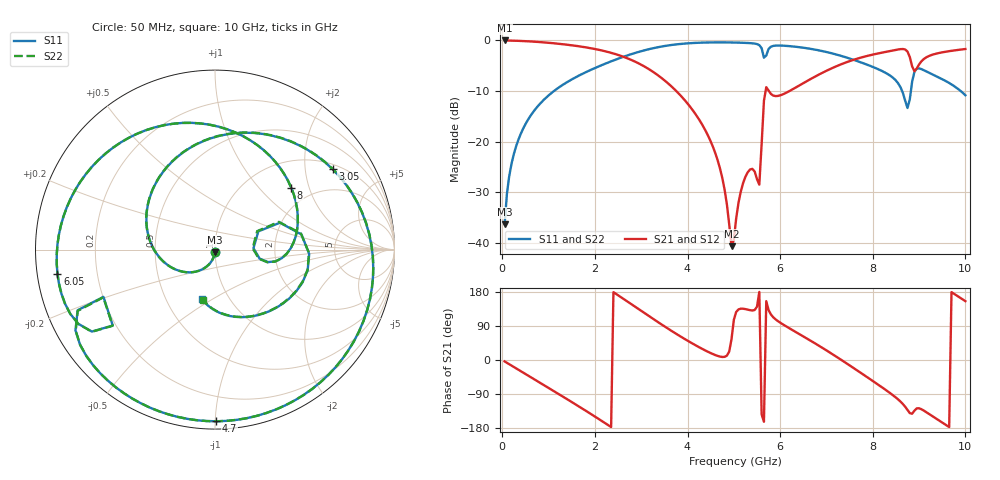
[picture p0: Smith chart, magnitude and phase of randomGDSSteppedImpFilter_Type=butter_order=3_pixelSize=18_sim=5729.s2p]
! freq	dB(S11)	phase(S11)	dB(S12)	phase(S12)
!  dB(S21)	phase(S21)	dB(S22)	phase(S22)
!S-par simulation data
#  GHz  S  DB  R 50
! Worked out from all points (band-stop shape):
!   200 points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, 50 MHz to 10 GHz, reference 50 ohm
!   highest |S21| = -0.01 dB at 50 MHz (marker M1); lowest = -40.7 dB at 4.95 GHz (marker M2)
!   |S21| within 3 dB of the highest: start of sweep to 2.546 GHz; 7.905 GHz to 8.787 GHz (881.6 MHz wide, 10.6 % of centre) (the widest 2 of 3)
!   lowest |S11| = -36.3 dB at 50 MHz (marker M3), VSWR 1.03, Z = 49.9 - j1.52 ohm
!   |S11| at or under -10 dB: start of sweep to 1.117 GHz; 8.633 GHz to 8.823 GHz (190.4 MHz wide, 2.18 % of centre); 9.898 GHz to end of sweep
!   |S22| runs from -36.3 to -0.4 dB; largest |S21 - S12| = 0
!   S11 on the Smith chart (normalised r, x): 50 MHz: 1.00, -0.03; 3.05 GHz: 1.16, +2.80; 4.7 GHz: 0.04, -1.01; 6.05 GHz: 0.06, -0.08; 8 GHz: 1.56, +1.53; 10 GHz: 0.75, -0.45
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0.05  -36.32 -92.6  -0.01 -3.8  -0.01 -3.8  -36.32 -92.6
0.2  -24.35 -104.8  -0.04 -14.9  -0.04 -14.9  -24.35 -104.7
0.5  -16.56 -127.4  -0.15 -36.9  -0.15 -36.9  -16.56 -127.3
1.1  -10.12 -171.9  -0.56 -81.1  -0.56 -81.1  -10.12 -171.7
1.75  -6.52 139.2  -1.29 -129.9  -1.29 -129.9  -6.52 139.5
2.35  -4.14 92.0  -2.46 -177.0  -2.46 -177.0  -4.14 92.4
3.05  -2.00 34.4  -5.06 125.5  -5.06 125.5  -2.00 34.8
3.4  -1.28 5.7  -7.16 96.9  -7.16 96.9  -1.27 6.0
4.7  -0.39 -89.5  -25.28 9.0  -25.28 9.0  -0.39 -89.3
4.95  -0.41 -105.9  -40.68 55.2  -40.68 55.2  -0.41 -105.8
5.05  -0.43 -112.5  -35.23 126.7  -35.23 126.7  -0.43 -112.3
5.3  -0.51 -129.3  -26.07 132.9  -26.07 132.9  -0.51 -129.1
5.55  -0.93 -149.9  -28.51 179.6  -28.51 179.6  -0.93 -149.7
5.7  -2.98 -143.4  -9.25 155.3  -9.25 155.3  -2.97 -143.3
6.05  -1.03 -171.4  -10.69 94.7  -10.69 94.7  -1.03 -171.3
6.7  -1.73 142.4  -7.42 47.9  -7.42 47.9  -1.73 142.5
7.3  -3.01 96.3  -4.78 1.9  -4.78 1.9  -3.01 96.3
8  -5.24 39.0  -2.81 -55.3  -2.81 -55.3  -5.24 39.1
8.35  -6.81 9.6  -2.14 -85.2  -2.14 -85.2  -6.81 9.6
8.75  -13.37 2.2  -2.20 -131.9  -2.20 -131.9  -13.56 1.9
8.95  -5.59 -2.7  -5.55 -127.6  -5.55 -127.6  -5.62 -1.9
10  -10.84 -104.5  -1.70 155.3  -1.70 155.3  -10.83 -103.8
